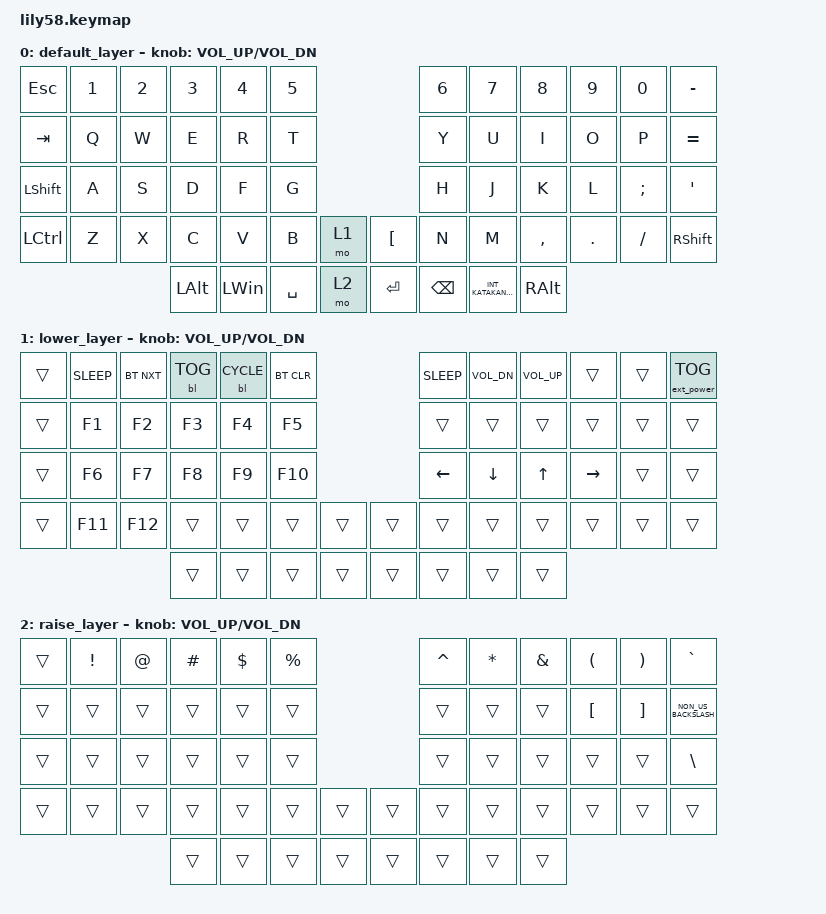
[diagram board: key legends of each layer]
/*
 * Copyright (c) 2020 The ZMK Contributors
 *
 * SPDX-License-Identifier: MIT
 */

#include <behaviors.dtsi>
#include <dt-bindings/zmk/backlight.h>
#include <dt-bindings/zmk/bt.h>
#include <dt-bindings/zmk/ext_power.h>
#include <dt-bindings/zmk/keys.h>

/ {
    keymap {
        compatible = "zmk,keymap";

        default_layer {
            // ------------------------------------------------------------------------------------------------------------
            // |  ESC  |  1  |  2  |  3   |  4   |  5   |                   |  6   |  7    |  8    |  9   |   0   |   `   |
            // |  TAB  |  Q  |  W  |  E   |  R   |  T   |                   |  Y   |  U    |  I    |  O   |   P   |   -   |
            // |  CTRL |  A  |  S  |  D   |  F   |  G   |                   |  H   |  J    |  K    |  L   |   ;   |   '   |
            // | SHIFT |  Z  |  X  |  C   |  V   |  B   |   "["  |  |  "]"  |  N   |  M    |  ,    |  .   |   /   | SHIFT |
            //                     | ALT  | GUI  | LOWER|  SPACE |  | ENTER | RAISE| BSPC  | GUI   |

            bindings = <
&kp ESC           &kp N1  &kp N2  &kp N3    &kp N4        &kp N5                                &kp N6         &kp N7                    &kp N8         &kp N9   &kp N0    &kp MINUS
&kp TAB           &kp Q   &kp W   &kp E     &kp R         &kp T                                 &kp Y          &kp U                     &kp I          &kp O    &kp P     &kp EQUAL
&kp LEFT_SHIFT    &kp A   &kp S   &kp D     &kp F         &kp G                                 &kp H          &kp J                     &kp K          &kp L    &kp SEMI  &kp SQT
&kp LEFT_CONTROL  &kp Z   &kp X   &kp C     &kp V         &kp B      &mo 1    &kp LEFT_BRACKET  &kp N          &kp M                     &kp COMMA      &kp DOT  &kp FSLH  &kp RIGHT_SHIFT
                                  &kp LALT  &kp LEFT_WIN  &kp SPACE  &mo 2    &kp RET           &kp BACKSPACE  &kp INT_KATAKANAHIRAGANA  &kp RIGHT_ALT
            >;

            sensor-bindings = <&inc_dec_kp C_VOL_UP C_VOL_DN>;
        };

        lower_layer {
            // ------------------------------------------------------------------------------------------------------------
            // | BTCLR | BT1 | BT2 |  BT3 |  BT4 |  BT5 |                   |      |       |       |      |       |       |
            // |  F1   |  F2 |  F3 |  F4  |  F5  |  F6  |                   |  F7  |  F8   |  F9   |  F10 |  F11  |  F12  |
            // |   `   |  !  |  @  |  #   |  $   |  %   |                   |  ^   |  &    |  *    |  (   |   )   |   ~   |
            // |       |     |     |      |      |      |        |  |       |      |  _    |  +    |  {   |   }   |  "|"  |
            //                     |      |      |      |        |  |       |      |       |       |

            bindings = <
&trans  &kp K_SLEEP  &bt BT_NXT  &bl BL_TOG  &bl BL_CYCLE  &bt BT_CLR                    &kp K_SLEEP  &kp C_VOL_DN  &kp C_VOL_UP  &trans     &trans  &ext_power EP_TOG
&trans  &kp F1       &kp F2      &kp F3      &kp F4        &kp F5                        &trans       &trans        &trans        &trans     &trans  &trans
&trans  &kp F6       &kp F7      &kp F8      &kp F9        &kp F10                       &kp LEFT     &kp DOWN      &kp UP_ARROW  &kp RIGHT  &trans  &trans
&trans  &kp F11      &kp F12     &trans      &trans        &trans      &trans    &trans  &trans       &trans        &trans        &trans     &trans  &trans
                                 &trans      &trans        &trans      &trans    &trans  &trans       &trans        &trans
            >;

            sensor-bindings = <&inc_dec_kp C_VOL_UP C_VOL_DN>;
        };

        raise_layer {
            // ------------------------------------------------------------------------------------------------------------
            // |       |     |     |      |      |      |                   |      |       |       |      |       |       |
            // |   `   |  1  |  2  |  3   |  4   |  5   |                   |  6   |   7   |   8   |  9   |   0   |       |
            // |   F1  |  F2 |  F3 |  F4  |  F5  |  F6  |                   |      |   <-  |   v   |  ^   |  ->   |       |
            // |   F7  |  F8 |  F9 |  F10 |  F11 |  F12 |        |  |       |  +   |   -   |   =   |  [   |   ]   |   \   |
            //                     |      |      |      |        |  |       |      |       |       |

            bindings = <
&trans  &kp EXCLAMATION  &kp AT_SIGN  &kp HASH  &kp DOLLAR  &kp PERCENT                    &kp CARET  &kp ASTERISK  &kp AMPERSAND  &kp LEFT_PARENTHESIS  &kp RIGHT_PARENTHESIS  &kp GRAVE
&trans  &trans           &trans       &trans    &trans      &trans                         &trans     &trans        &trans         &kp LEFT_BRACKET      &kp RIGHT_BRACKET      &kp NON_US_BACKSLASH
&trans  &trans           &trans       &trans    &trans      &trans                         &trans     &trans        &trans         &trans                &trans                 &kp BACKSLASH
&trans  &trans           &trans       &trans    &trans      &trans       &trans    &trans  &trans     &trans        &trans         &trans                &trans                 &trans
                                      &trans    &trans      &trans       &trans    &trans  &trans     &trans        &trans
            >;

            sensor-bindings = <&inc_dec_kp C_VOL_UP C_VOL_DN>;
        };
    };
};
